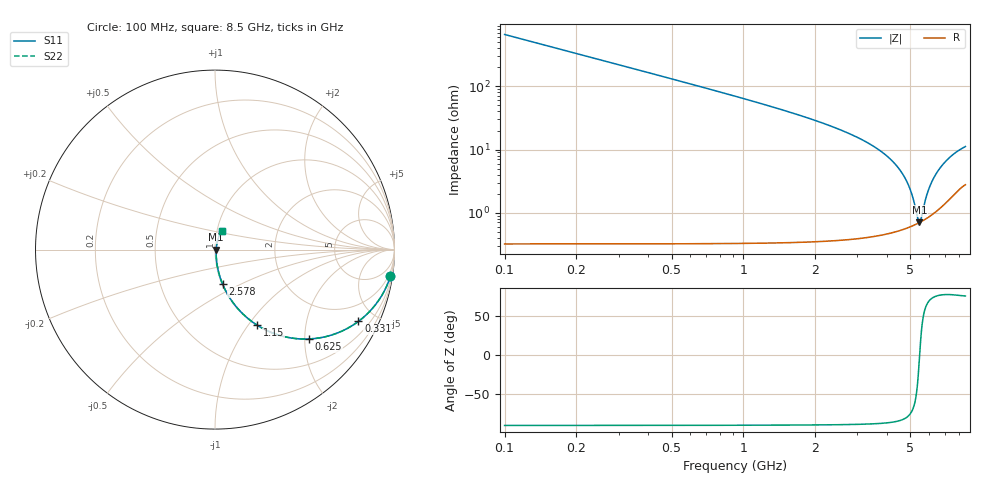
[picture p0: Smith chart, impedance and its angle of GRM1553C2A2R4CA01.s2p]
!Murata Part Number: GRM1553C2A2R4CA01
!These Parameters are Measured in Series Mode Connection
!Data Generated on Mar 30, 2021
!  o--ll--o
!Port1  Port2
!  o------o
!Operation Temp=25[degC], DC Bias Voltage=0[V]
!Freq. Start=100[MHz] Stop=9[GHz] 401[Steps]
# Hz S RI R 50
!Freq.(Hz) S11(Real) S11(Imag) S21(Real) S21(Imag) S12(Real) S12(Imag) S22(Real) S22(Imag)
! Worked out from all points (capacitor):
!   401 points, 100 MHz to 8.5 GHz, reference 50 ohm
!   read as one part in series: C = 2.4 pF near 142 MHz
!   lowest |Z| = 700 mohm at 5.455 GHz (marker M1)
!   series resonance near 5.468 GHz, so ESL is about 350 pH
!   S11 on the Smith chart (normalised r, x): 100 MHz: 1, -13; 331 MHz: 1.01, -3.99; 625 MHz: 1.01, -2.09; 1.15 GHz: 1.01, -1.10; 2.578 GHz: 1.01, -0.40; 8.5 GHz: 1.06, +0.22
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1e8  0.9777 -0.1475  0.0223 0.1475  0.0223 0.1475  0.9777 -0.1475
2.26e8  0.8954 -0.3055  0.1046 0.3055  0.1046 0.3055  0.8954 -0.3055
3.31e8  0.799 -0.3999  0.201 0.3999  0.201 0.3999  0.799 -0.3999
6.25e8  0.5231 -0.4979  0.4769 0.4979  0.4769 0.4979  0.5231 -0.4979
8.77e8  0.3527 -0.4756  0.6473 0.4756  0.6473 0.4756  0.3527 -0.4756
1.15e9  0.2347 -0.4208  0.7653 0.4208  0.7653 0.4208  0.2347 -0.4208
1.507e9  0.1444 -0.3474  0.8556 0.3474  0.8556 0.3474  0.1444 -0.3474
2.578e9  0.0421 -0.1919  0.9579 0.1919  0.9579 0.1919  0.0421 -0.1919
2.914e9  0.0297 -0.1586  0.9703 0.1586  0.9703 0.1586  0.0297 -0.1586
4.3e9  0.00841 -0.059  0.9916 0.059  0.9916 0.059  0.00841 -0.059
4.657e9  0.00693 -0.0393  0.9931 0.0393  0.9931 0.0393  0.00693 -0.0393
4.93e9  0.00647 -0.0254  0.9935 0.0254  0.9935 0.0254  0.00647 -0.0254
5.14e9  0.00645 -0.0151  0.9936 0.0151  0.9936 0.0151  0.00645 -0.0151
5.392e9  0.00678 -0.00342  0.9932 0.00342  0.9932 0.00342  0.00678 -0.00342
5.455e9  0.00692 -0.000567  0.9931 0.000567  0.9931 0.000567  0.00692 -0.000567
5.539e9  0.00715 0.00318  0.9928 -0.00318  0.9928 -0.00318  0.00715 0.00318
5.707e9  0.00772 0.0105  0.9923 -0.0105  0.9923 -0.0105  0.00772 0.0105
5.938e9  0.00877 0.0203  0.9912 -0.0203  0.9912 -0.0203  0.00877 0.0203
6.232e9  0.0105 0.0322  0.9895 -0.0322  0.9895 -0.0322  0.0105 0.0322
6.631e9  0.0137 0.0474  0.9863 -0.0474  0.9863 -0.0474  0.0137 0.0474
7.114e9  0.0188 0.0643  0.9812 -0.0643  0.9812 -0.0643  0.0188 0.0643
8.5e9  0.0376 0.1012  0.9624 -0.1012  0.9624 -0.1012  0.0376 0.1012
